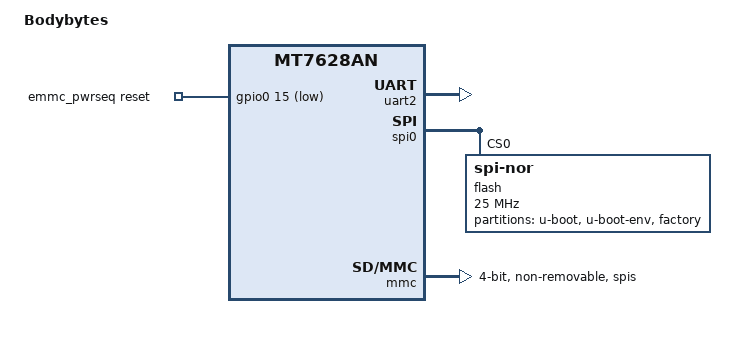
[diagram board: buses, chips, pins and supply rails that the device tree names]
/dts-v1/;

#include "mt7628a.dtsi"
#include <dt-bindings/gpio/gpio.h>

/ {
	compatible = "bodybytes,bodybytes", "mediatek,mt7628an-soc";
	model = "Bodybytes";

	aliases {
		serial2 = &uart2;
		spi0 = &spi0;
	};

	chosen {
		stdout-path = &uart2;
	};

	emmc_pwrseq: emmc_pwrseq {
		compatible = "mmc-pwrseq-emmc";
		/* MDI_TN_P1, SoC pin 42, gpio0 offset 15, active-low */
		reset-gpios = <&gpio0 15 GPIO_ACTIVE_LOW>;
	};
};

&pinctrl {
	/*
	 * SPIS_MODE=gpio — switches MDI P1 pads to GPIO function.
	 * Required so MDI_TN_P1 (GPIO#15) is driveable as the eMMC reset output
	 * and MDI_TP_P1 (GPIO#14) is readable as the recovery-boot sensor.
	 */
	mdi_p1_gpio: mdi_p1_gpio {
		spis_gpio {
			groups = "spis";
			function = "gpio";
		};
	};
};

&uart2 {
	status = "okay";
};

&spi0 {
	status = "okay";
	num-cs = <2>;

	flash@0 {
		compatible = "jedec,spi-nor";
		spi-max-frequency = <25000000>;
		reg = <0>;

		partitions {
			compatible = "fixed-partitions";
			#address-cells = <1>;
			#size-cells = <1>;

			partition@0 {
				label = "u-boot";
				reg = <0x000000 0x030000>;
				read-only;
			};

			partition@30000 {
				label = "u-boot-env";
				reg = <0x030000 0x010000>;
			};

			partition@40000 {
				label = "factory";
				reg = <0x040000 0x010000>;
				read-only;
			};
		};
	};
};

&mmc {
	/*
	 * sd_iot_mode: EPHY_APGIO_AIO_EN[4:1]=0xf (MDI pads → digital) +
	 * SD_MODE=0 (SDXC on EPHY P3/P4 pads) + ESD=0 (IoT routing).
	 * mdi_p1_gpio: SPIS_MODE=gpio so MDI_TN_P1 (GPIO#15) is the eMMC reset.
	 */
	pinctrl-names = "default";
	pinctrl-0 = <&sd_iot_mode &mdi_p1_gpio>;
	bus-width = <4>;
	cap-mmc-highspeed;
	/delete-property/ cap-sd-highspeed;
	non-removable;
	mmc-pwrseq = <&emmc_pwrseq>;
	status = "okay";
};
